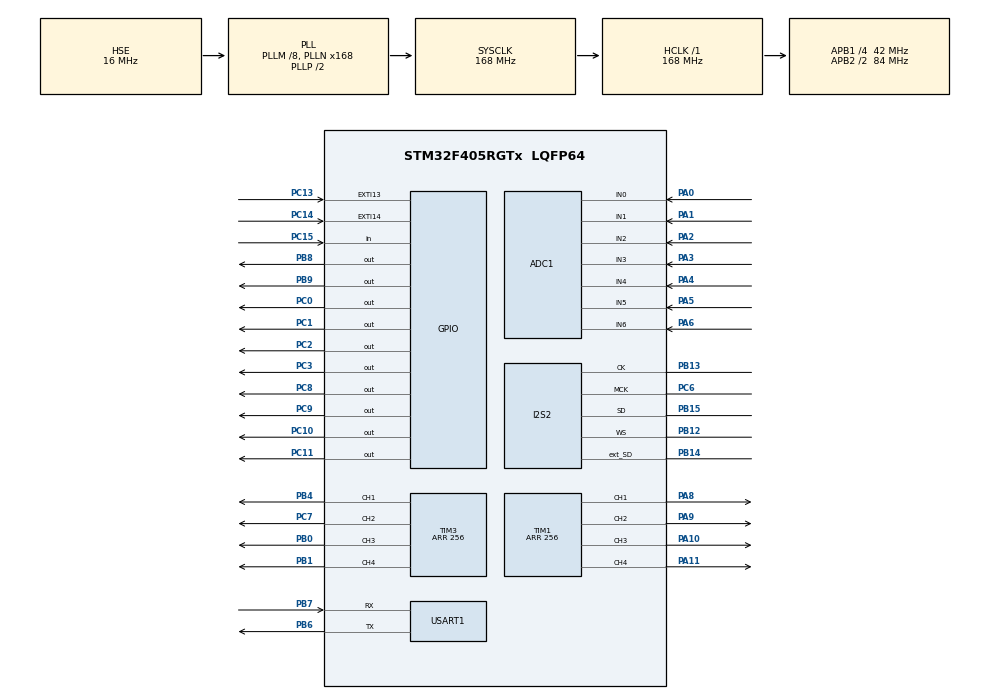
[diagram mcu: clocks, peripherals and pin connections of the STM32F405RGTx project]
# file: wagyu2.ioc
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ADC1.Channel-0\#ChannelRegularConversion=ADC_CHANNEL_0
ADC1.Channel-1\#ChannelRegularConversion=ADC_CHANNEL_1
ADC1.Channel-2\#ChannelRegularConversion=ADC_CHANNEL_2
ADC1.Channel-3\#ChannelRegularConversion=ADC_CHANNEL_3
ADC1.Channel-4\#ChannelRegularConversion=ADC_CHANNEL_4
ADC1.Channel-5\#ChannelRegularConversion=ADC_CHANNEL_5
ADC1.Channel-6\#ChannelRegularConversion=ADC_CHANNEL_6
ADC1.DMAContinuousRequests=ENABLE
ADC1.EOCSelection=ADC_EOC_SEQ_CONV
ADC1.ExternalTrigConv=ADC_EXTERNALTRIGCONV_T2_TRGO
ADC1.NbrOfConversion=7
ADC1.NbrOfConversionFlag=1
ADC1.Rank-0\#ChannelRegularConversion=1
ADC1.Rank-1\#ChannelRegularConversion=2
ADC1.Rank-2\#ChannelRegularConversion=3
ADC1.Rank-3\#ChannelRegularConversion=4
ADC1.Rank-4\#ChannelRegularConversion=5
ADC1.Rank-5\#ChannelRegularConversion=6
ADC1.Rank-6\#ChannelRegularConversion=7
ADC1.SamplingTime-0\#ChannelRegularConversion=ADC_SAMPLETIME_3CYCLES
ADC1.SamplingTime-1\#ChannelRegularConversion=ADC_SAMPLETIME_3CYCLES
ADC1.SamplingTime-2\#ChannelRegularConversion=ADC_SAMPLETIME_3CYCLES
ADC1.SamplingTime-3\#ChannelRegularConversion=ADC_SAMPLETIME_3CYCLES
ADC1.SamplingTime-4\#ChannelRegularConversion=ADC_SAMPLETIME_15CYCLES
ADC1.SamplingTime-5\#ChannelRegularConversion=ADC_SAMPLETIME_15CYCLES
ADC1.SamplingTime-6\#ChannelRegularConversion=ADC_SAMPLETIME_15CYCLES
ADC1.ScanConvMode=ENABLE
ADC1.master=1
Dma.ADC1.0.Direction=DMA_PERIPH_TO_MEMORY
Dma.ADC1.0.FIFOMode=DMA_FIFOMODE_DISABLE
Dma.ADC1.0.Instance=DMA2_Stream0
Dma.ADC1.0.MemDataAlignment=DMA_MDATAALIGN_HALFWORD
Dma.ADC1.0.MemInc=DMA_MINC_ENABLE
Dma.ADC1.0.Mode=DMA_CIRCULAR
Dma.ADC1.0.PeriphDataAlignment=DMA_PDATAALIGN_HALFWORD
Dma.ADC1.0.PeriphInc=DMA_PINC_DISABLE
Dma.ADC1.0.Priority=DMA_PRIORITY_LOW
Dma.I2S2_EXT_RX.2.Direction=DMA_PERIPH_TO_MEMORY
Dma.I2S2_EXT_RX.2.FIFOMode=DMA_FIFOMODE_DISABLE
Dma.I2S2_EXT_RX.2.Instance=DMA1_Stream3
Dma.I2S2_EXT_RX.2.MemDataAlignment=DMA_MDATAALIGN_HALFWORD
Dma.I2S2_EXT_RX.2.MemInc=DMA_MINC_ENABLE
Dma.I2S2_EXT_RX.2.Mode=DMA_CIRCULAR
Dma.I2S2_EXT_RX.2.PeriphDataAlignment=DMA_PDATAALIGN_HALFWORD
Dma.I2S2_EXT_RX.2.PeriphInc=DMA_PINC_DISABLE
Dma.I2S2_EXT_RX.2.Priority=DMA_PRIORITY_LOW
Dma.Request0=ADC1
Dma.Request1=SPI2_TX
Dma.Request2=I2S2_EXT_RX
Dma.SPI2_TX.1.Direction=DMA_MEMORY_TO_PERIPH
Dma.SPI2_TX.1.FIFOMode=DMA_FIFOMODE_DISABLE
Dma.SPI2_TX.1.Instance=DMA1_Stream4
Dma.SPI2_TX.1.MemDataAlignment=DMA_MDATAALIGN_HALFWORD
Dma.SPI2_TX.1.MemInc=DMA_MINC_ENABLE
Dma.SPI2_TX.1.Mode=DMA_CIRCULAR
Dma.SPI2_TX.1.PeriphDataAlignment=DMA_PDATAALIGN_HALFWORD
Dma.SPI2_TX.1.PeriphInc=DMA_PINC_DISABLE
Dma.SPI2_TX.1.Priority=DMA_PRIORITY_LOW
I2S2.AudioFreq=I2S_AUDIOFREQ_32K
I2S2.ErrorAudioFreq=1.9 %
I2S2.FullDuplexMode=I2S_FULLDUPLEXMODE_ENABLE
I2S2.Instance=SPI$Index
I2S2.RealAudioFreq=32.608 KHz
I2S2.VirtualMode=I2S_MODE_MASTER
Mcu.Family=STM32F4
Mcu.Name=STM32F405RGTx
Mcu.Package=LQFP64
NVIC.DMA1_Stream3_IRQn=true\:0\:0\:false\:false\:true\:false\:true
NVIC.DMA1_Stream4_IRQn=true\:0\:0\:false\:false\:true\:false\:true
NVIC.DMA2_Stream0_IRQn=true\:0\:0\:false\:false\:true\:false\:true
NVIC.EXTI15_10_IRQn=true\:0\:0\:false\:false\:true\:true\:true
NVIC.PriorityGroup=NVIC_PRIORITYGROUP_4
PA0-WKUP.Signal=ADCx_IN0
PA1.Signal=ADCx_IN1
PA10.Signal=S_TIM1_CH3
PA11.Signal=S_TIM1_CH4
PA13.Mode=Serial_Wire
PA13.Signal=SYS_JTMS-SWDIO
PA14.Mode=Serial_Wire
PA14.Signal=SYS_JTCK-SWCLK
PA2.Signal=ADCx_IN2
PA3.Signal=ADCx_IN3
PA4.Signal=ADCx_IN4
PA5.Signal=ADCx_IN5
PA6.Signal=ADCx_IN6
PA8.Signal=S_TIM1_CH1
PA9.Signal=S_TIM1_CH2
PB0.Signal=S_TIM3_CH3
PB1.Signal=S_TIM3_CH4
PB12.Mode=Full_Duplex_Master
PB12.Signal=I2S2_WS
PB13.Mode=Full_Duplex_Master
PB13.Signal=I2S2_CK
PB14.Mode=Full_Duplex_Master
PB14.Signal=I2S2_ext_SD
PB15.Mode=Full_Duplex_Master
PB15.Signal=I2S2_SD
PB4.Signal=S_TIM3_CH1
PB6.Mode=Asynchronous
PB6.Signal=USART1_TX
PB7.Mode=Asynchronous
PB7.Signal=USART1_RX
PB8.GPIO_ModeDefaultOutputPP=GPIO_MODE_OUTPUT_OD
PB8.GPIO_PuPd=GPIO_PULLUP
PB8.PinState=GPIO_PIN_SET
PB8.Signal=GPIO_Output
PB9.GPIO_ModeDefaultOutputPP=GPIO_MODE_OUTPUT_OD
PB9.GPIO_PuPd=GPIO_PULLUP
PB9.PinState=GPIO_PIN_SET
PB9.Signal=GPIO_Output
PC0.Signal=GPIO_Output
PC1.Signal=GPIO_Output
PC10.PinState=GPIO_PIN_SET
PC10.Signal=GPIO_Output
PC11.Signal=GPIO_Output
PC13-ANTI_TAMP.GPIO_ModeDefaultEXTI=GPIO_MODE_IT_RISING_FALLING
PC13-ANTI_TAMP.GPIO_PuPd=GPIO_PULLUP
PC13-ANTI_TAMP.Signal=GPXTI13
PC14-OSC32_IN.GPIO_ModeDefaultEXTI=GPIO_MODE_IT_RISING_FALLING
PC14-OSC32_IN.GPIO_PuPd=GPIO_PULLUP
PC14-OSC32_IN.Signal=GPXTI14
PC15-OSC32_OUT.GPIO_PuPd=GPIO_PULLUP
PC15-OSC32_OUT.Signal=GPIO_Input
PC2.Signal=GPIO_Output
PC3.Signal=GPIO_Output
PC6.Mode=Master_Clock_Activated
PC6.Signal=I2S2_MCK
PC7.Signal=S_TIM3_CH2
PC8.Signal=GPIO_Output
PC9.Signal=GPIO_Output
PH0-OSC_IN.Mode=HSE-External-Oscillator
PH0-OSC_IN.Signal=RCC_OSC_IN
PH1-OSC_OUT.Mode=HSE-External-Oscillator
PH1-OSC_OUT.Signal=RCC_OSC_OUT
ProjectManager.HeapSize=0x200
ProjectManager.StackSize=0x400
ProjectManager.TargetToolchain=STM32CubeIDE
RCC.48MHZClocksFreq_Value=84000000
RCC.AHBFreq_Value=168000000
RCC.APB1CLKDivider=RCC_HCLK_DIV4
RCC.APB1Freq_Value=42000000
RCC.APB1TimFreq_Value=84000000
RCC.APB2CLKDivider=RCC_HCLK_DIV2
RCC.APB2Freq_Value=84000000
RCC.APB2TimFreq_Value=168000000
RCC.CortexFreq_Value=168000000
RCC.EnbaleCSS=true
RCC.HCLKFreq_Value=168000000
RCC.HSE_VALUE=16000000
RCC.HSI_VALUE=16000000
RCC.LSE_VALUE=32768
RCC.PLLM=8
RCC.PLLN=168
RCC.PLLSourceVirtual=RCC_PLLSOURCE_HSE
RCC.SYSCLKFreq_VALUE=168000000
RCC.SYSCLKSource=RCC_SYSCLKSOURCE_PLLCLK
RCC.VCOOutputFreq_Value=336000000
SH.ADCx_IN0.0=ADC1_IN0,IN0
SH.ADCx_IN1.0=ADC1_IN1,IN1
SH.ADCx_IN2.0=ADC1_IN2,IN2
SH.ADCx_IN3.0=ADC1_IN3,IN3
SH.ADCx_IN4.0=ADC1_IN4,IN4
SH.ADCx_IN5.0=ADC1_IN5,IN5
SH.ADCx_IN6.0=ADC1_IN6,IN6
SH.S_TIM1_CH1.0=TIM1_CH1,PWM Generation1 CH1
SH.S_TIM1_CH2.0=TIM1_CH2,PWM Generation2 CH2
SH.S_TIM1_CH3.0=TIM1_CH3,PWM Generation3 CH3
SH.S_TIM1_CH4.0=TIM1_CH4,PWM Generation4 CH4
SH.S_TIM3_CH1.0=TIM3_CH1,PWM Generation1 CH1
SH.S_TIM3_CH2.0=TIM3_CH2,PWM Generation2 CH2
SH.S_TIM3_CH3.0=TIM3_CH3,PWM Generation3 CH3
SH.S_TIM3_CH4.0=TIM3_CH4,PWM Generation4 CH4
TIM1.Channel-PWM\ Generation1\ CH1=TIM_CHANNEL_1
TIM1.Channel-PWM\ Generation2\ CH2=TIM_CHANNEL_2
TIM1.Channel-PWM\ Generation3\ CH3=TIM_CHANNEL_3
TIM1.Channel-PWM\ Generation4\ CH4=TIM_CHANNEL_4
TIM1.Period=256
TIM2.ClockDivision=TIM_CLOCKDIVISION_DIV2
TIM2.Period=10000
TIM2.TIM_MasterOutputTrigger=TIM_TRGO_UPDATE
TIM3.Channel-PWM\ Generation1\ CH1=TIM_CHANNEL_1
TIM3.Channel-PWM\ Generation2\ CH2=TIM_CHANNEL_2
TIM3.Channel-PWM\ Generation3\ CH3=TIM_CHANNEL_3
TIM3.Channel-PWM\ Generation4\ CH4=TIM_CHANNEL_4
TIM3.Period=256
USART1.VirtualMode=VM_ASYNC
VP_TIM1_VS_ClockSourceINT.Mode=Internal
VP_TIM2_VS_ClockSourceINT.Mode=Internal
VP_TIM3_VS_ClockSourceINT.Mode=Internal
board=custom

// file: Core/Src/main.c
/* USER CODE BEGIN Header */
/**
  ******************************************************************************
  * @file           : main.c
  * @brief          : Main program body
  ******************************************************************************
  * @attention
  *
  * <h2><center>&copy; Copyright (c) 2020 STMicroelectronics.
  * All rights reserved.</center></h2>
  *
  * This software component is licensed by ST under BSD 3-Clause license,
  * the "License"; You may not use this file except in compliance with the
  * License. You may obtain a copy of the License at:
  *                        opensource.org/licenses/BSD-3-Clause
  *
  ******************************************************************************
  */
/* USER CODE END Header */

#include "main.h"

/* USER CODE BEGIN Includes */
#include <math.h>
#include <stdarg.h>
#include <stdio.h>
#include <string.h>

/* USER CODE END Includes */

ADC_HandleTypeDef hadc1;
DMA_HandleTypeDef hdma_adc1;

I2S_HandleTypeDef hi2s2;
DMA_HandleTypeDef hdma_spi2_tx;
DMA_HandleTypeDef hdma_i2s2_ext_rx;

TIM_HandleTypeDef htim1;
TIM_HandleTypeDef htim2;
TIM_HandleTypeDef htim3;

UART_HandleTypeDef huart1;

void SystemClock_Config(void);
static void MX_GPIO_Init(void);
static void MX_DMA_Init(void);
static void MX_USART1_UART_Init(void);
static void MX_TIM1_Init(void);
static void MX_TIM3_Init(void);
static void MX_ADC1_Init(void);
static void MX_TIM2_Init(void);
static void MX_I2S2_Init(void);

/* USER CODE BEGIN 0 */

void DebugLog(const char *fmt, ...) {
	char buf[256];
	va_list args;
	va_start(args, fmt);
	int n = vsnprintf(buf, sizeof(buf), fmt, args);
	va_end(args);
	HAL_UART_Transmit(&huart1, (unsigned char*) buf, n, 10000);
}

uint8_t vram[8][8];
#define N 64
static short txbuf[N*4];
static short rxbuf[N*4];

const static uint8_t ypins[8]={TIM_CHANNEL_4,TIM_CHANNEL_3,TIM_CHANNEL_2,TIM_CHANNEL_1,TIM_CHANNEL_1,TIM_CHANNEL_4,TIM_CHANNEL_3,TIM_CHANNEL_2};
const static uint8_t xpins[8]={10,9,8,11,3,2,1,0};

void UpdateLEDs(void)
{
	  static int x=0;
	  HAL_GPIO_WritePin(GPIOC, 1<<xpins[x], GPIO_PIN_RESET);
	  x=(x+1)&7;
	  for (int y=0;y<8;++y)
		  __HAL_TIM_SET_COMPARE((y>=4)?&htim3:&htim1, ypins[y], vram[y][x]);
	  HAL_GPIO_WritePin(GPIOC, 1<<xpins[x], GPIO_PIN_SET);
}

static uint16_t adcbuf[7*8];

void HAL_I2S_TxCpltCallback (I2S_HandleTypeDef * hi2s) {
	int i=1;
}
void HAL_I2S_TxHalfCpltCallback (I2S_HandleTypeDef * hi2s) {
	int i=1;
}

//void HAL_ADC_ConvCpltCallback(ADC_HandleTypeDef *hadc) {
//	int i=1;
//}

volatile int enc_val = 0;
int prevc;
void UpdateEncoder(void) {
	int c=(GPIOC->IDR >> 13) & 3;
	int change = c^prevc;
	if (!change)
		return;
	enc_val+=(((c<<1)^(prevc))&2)-1;
	prevc=c;
}

void HAL_GPIO_EXTI_Callback(uint16_t GPIO_Pin) {
	UpdateEncoder();
}

#include "codec.h"

/* USER CODE END 0 */

int main(void)
{

  /* MCU Configuration--------------------------------------------------------*/

  /* Reset of all peripherals, Initializes the Flash interface and the Systick. */
  HAL_Init();

  /* Configure the system clock */
  SystemClock_Config();

  /* Initialize all configured peripherals */
  MX_GPIO_Init();
  MX_DMA_Init();
  MX_USART1_UART_Init();
  MX_TIM1_Init();
  MX_TIM3_Init();
  MX_ADC1_Init();
  MX_TIM2_Init();
  MX_I2S2_Init();
  /* USER CODE BEGIN 2 */
  DebugLog("hello world\r\n");
  HAL_TIM_PWM_Start(&htim1, TIM_CHANNEL_1);
  HAL_TIM_PWM_Start(&htim1, TIM_CHANNEL_2);
  HAL_TIM_PWM_Start(&htim1, TIM_CHANNEL_3);
  HAL_TIM_PWM_Start(&htim1, TIM_CHANNEL_4);
  HAL_TIM_PWM_Start(&htim3, TIM_CHANNEL_1);
  HAL_TIM_PWM_Start(&htim3, TIM_CHANNEL_2);
  HAL_TIM_PWM_Start(&htim3, TIM_CHANNEL_3);
  HAL_TIM_PWM_Start(&htim3, TIM_CHANNEL_4);
  HAL_ADC_Start_DMA(&hadc1,(uint32_t*)&adcbuf, 7*8);
  HAL_TIM_Base_Start(&htim2);

  UpdateEncoder();
  enc_val=0;

  for (int i=0;i<N*4;++i)
	  txbuf[i]=32767.f * sinf(i*3.141592f/2.f/N);
  int rv;
  rv = HAL_I2S_Transmit_DMA(&hi2s2, (uint16_t*) txbuf, sizeof(txbuf) / 2);
  /*
 rv= HAL_I2SEx_TransmitReceive_DMA(&hi2s2, (uint16_t*) txbuf, (uint16_t*)rxbuf, sizeof(rxbuf) / 2);
 // fix st's shit
 hi2s2.hdmatx->XferCpltCallback = allcplt;
 hi2s2.hdmatx->XferHalfCpltCallback = halfcplt;
 hi2s2.hdmarx->XferCpltCallback = 0;
 hi2s2.hdmarx->XferHalfCpltCallback = 0;
*/

  codec_init();

  /* USER CODE END 2 */

  /* Infinite loop */
  while (1)
  {

    /* USER CODE BEGIN 3 */
//	  DebugLog("%d %d %d\r", adcbuf[4], adcbuf[5], adcbuf[6]);
	  int x0=(adcbuf[6]^4095)+adcbuf[2]-2048;
	  int y0=(adcbuf[4]^4095)+adcbuf[3]-2048;
	  int r0=((adcbuf[5]^4095)+256);
	  r0*=r0;
	  for (int y=0;y<8;++y) {
		  int y1=(y*512)+256;
		  int dy=(y1-y0);
		  dy*=dy;
		  for (int x=0;x<8;++x) {
			  int x1=(x*512)+256;
			  int dx=(x1-x0);
			  dx*=dx;
			  // linear pixel brightness, 0=black , 255=bright
			  int k=(int)(255.f*exp2f((dx+dy)*(-4.f/r0)));
			  if (x+y*8 == enc_val/4)
				  k=255;
			  if (!((GPIOC->IDR >> 15)&1))
				  k=255-k;
			  // flip it coz I got the +/- pins backwards and square for gamma
			  vram[y][x]=255-((k*k)>>8);
		  }
	  }
	  DebugLog("%d    \r\n",enc_val);
  }
  /* USER CODE END 3 */
}

void SystemClock_Config(void)
{
  RCC_OscInitTypeDef RCC_OscInitStruct = {0};
  RCC_ClkInitTypeDef RCC_ClkInitStruct = {0};
  RCC_PeriphCLKInitTypeDef PeriphClkInitStruct = {0};

  /** Configure the main internal regulator output voltage
  */
  __HAL_RCC_PWR_CLK_ENABLE();
  __HAL_PWR_VOLTAGESCALING_CONFIG(PWR_REGULATOR_VOLTAGE_SCALE1);
  /** Initializes the CPU, AHB and APB busses clocks
  */
  RCC_OscInitStruct.OscillatorType = RCC_OSCILLATORTYPE_HSE;
  RCC_OscInitStruct.HSEState = RCC_HSE_ON;
  RCC_OscInitStruct.PLL.PLLState = RCC_PLL_ON;
  RCC_OscInitStruct.PLL.PLLSource = RCC_PLLSOURCE_HSE;
  RCC_OscInitStruct.PLL.PLLM = 8;
  RCC_OscInitStruct.PLL.PLLN = 168;
  RCC_OscInitStruct.PLL.PLLP = RCC_PLLP_DIV2;
  RCC_OscInitStruct.PLL.PLLQ = 4;
  if (HAL_RCC_OscConfig(&RCC_OscInitStruct) != HAL_OK)
  {
    Error_Handler();
  }
  /** Initializes the CPU, AHB and APB busses clocks
  */
  RCC_ClkInitStruct.ClockType = RCC_CLOCKTYPE_HCLK|RCC_CLOCKTYPE_SYSCLK
                              |RCC_CLOCKTYPE_PCLK1|RCC_CLOCKTYPE_PCLK2;
  RCC_ClkInitStruct.SYSCLKSource = RCC_SYSCLKSOURCE_PLLCLK;
  RCC_ClkInitStruct.AHBCLKDivider = RCC_SYSCLK_DIV1;
  RCC_ClkInitStruct.APB1CLKDivider = RCC_HCLK_DIV4;
  RCC_ClkInitStruct.APB2CLKDivider = RCC_HCLK_DIV2;

  if (HAL_RCC_ClockConfig(&RCC_ClkInitStruct, FLASH_LATENCY_5) != HAL_OK)
  {
    Error_Handler();
  }
  PeriphClkInitStruct.PeriphClockSelection = RCC_PERIPHCLK_I2S;
  PeriphClkInitStruct.PLLI2S.PLLI2SN = 192;
  PeriphClkInitStruct.PLLI2S.PLLI2SR = 2;
  if (HAL_RCCEx_PeriphCLKConfig(&PeriphClkInitStruct) != HAL_OK)
  {
    Error_Handler();
  }
  /** Enables the Clock Security System
  */
  HAL_RCC_EnableCSS();
}

static void MX_ADC1_Init(void)
{

  ADC_ChannelConfTypeDef sConfig = {0};

  /** Configure the global features of the ADC (Clock, Resolution, Data Alignment and number of conversion)
  */
  hadc1.Instance = ADC1;
  hadc1.Init.ClockPrescaler = ADC_CLOCK_SYNC_PCLK_DIV4;
  hadc1.Init.Resolution = ADC_RESOLUTION_12B;
  hadc1.Init.ScanConvMode = ENABLE;
  hadc1.Init.ContinuousConvMode = DISABLE;
  hadc1.Init.DiscontinuousConvMode = DISABLE;
  hadc1.Init.ExternalTrigConvEdge = ADC_EXTERNALTRIGCONVEDGE_RISING;
  hadc1.Init.ExternalTrigConv = ADC_EXTERNALTRIGCONV_T2_TRGO;
  hadc1.Init.DataAlign = ADC_DATAALIGN_RIGHT;
  hadc1.Init.NbrOfConversion = 7;
  hadc1.Init.DMAContinuousRequests = ENABLE;
  hadc1.Init.EOCSelection = ADC_EOC_SEQ_CONV;
  if (HAL_ADC_Init(&hadc1) != HAL_OK)
  {
    Error_Handler();
  }
  /** Configure for the selected ADC regular channel its corresponding rank in the sequencer and its sample time.
  */
  sConfig.Channel = ADC_CHANNEL_0;
  sConfig.Rank = 1;
  sConfig.SamplingTime = ADC_SAMPLETIME_3CYCLES;
  if (HAL_ADC_ConfigChannel(&hadc1, &sConfig) != HAL_OK)
  {
    Error_Handler();
  }
  /** Configure for the selected ADC regular channel its corresponding rank in the sequencer and its sample time.
  */
  sConfig.Channel = ADC_CHANNEL_1;
  sConfig.Rank = 2;
  if (HAL_ADC_ConfigChannel(&hadc1, &sConfig) != HAL_OK)
  {
    Error_Handler();
  }
  /** Configure for the selected ADC regular channel its corresponding rank in the sequencer and its sample time.
  */
  sConfig.Channel = ADC_CHANNEL_2;
  sConfig.Rank = 3;
  if (HAL_ADC_ConfigChannel(&hadc1, &sConfig) != HAL_OK)
  {
    Error_Handler();
  }
  /** Configure for the selected ADC regular channel its corresponding rank in the sequencer and its sample time.
  */
  sConfig.Channel = ADC_CHANNEL_3;
  sConfig.Rank = 4;
  if (HAL_ADC_ConfigChannel(&hadc1, &sConfig) != HAL_OK)
  {
    Error_Handler();
  }
  /** Configure for the selected ADC regular channel its corresponding rank in the sequencer and its sample time.
  */
  sConfig.Channel = ADC_CHANNEL_4;
  sConfig.Rank = 5;
  sConfig.SamplingTime = ADC_SAMPLETIME_15CYCLES;
  if (HAL_ADC_ConfigChannel(&hadc1, &sConfig) != HAL_OK)
  {
    Error_Handler();
  }
  /** Configure for the selected ADC regular channel its corresponding rank in the sequencer and its sample time.
  */
  sConfig.Channel = ADC_CHANNEL_5;
  sConfig.Rank = 6;
  if (HAL_ADC_ConfigChannel(&hadc1, &sConfig) != HAL_OK)
  {
    Error_Handler();
  }
  /** Configure for the selected ADC regular channel its corresponding rank in the sequencer and its sample time.
  */
  sConfig.Channel = ADC_CHANNEL_6;
  sConfig.Rank = 7;
  if (HAL_ADC_ConfigChannel(&hadc1, &sConfig) != HAL_OK)
  {
    Error_Handler();
  }

}

static void MX_I2S2_Init(void)
{

  hi2s2.Instance = SPI2;
  hi2s2.Init.Mode = I2S_MODE_MASTER_TX;
  hi2s2.Init.Standard = I2S_STANDARD_PHILIPS;
  hi2s2.Init.DataFormat = I2S_DATAFORMAT_16B;
  hi2s2.Init.MCLKOutput = I2S_MCLKOUTPUT_ENABLE;
  hi2s2.Init.AudioFreq = I2S_AUDIOFREQ_32K;
  hi2s2.Init.CPOL = I2S_CPOL_LOW;
  hi2s2.Init.ClockSource = I2S_CLOCK_PLL;
  hi2s2.Init.FullDuplexMode = I2S_FULLDUPLEXMODE_ENABLE;
  if (HAL_I2S_Init(&hi2s2) != HAL_OK)
  {
    Error_Handler();
  }

}

static void MX_TIM1_Init(void)
{

  TIM_ClockConfigTypeDef sClockSourceConfig = {0};
  TIM_MasterConfigTypeDef sMasterConfig = {0};
  TIM_OC_InitTypeDef sConfigOC = {0};
  TIM_BreakDeadTimeConfigTypeDef sBreakDeadTimeConfig = {0};

  htim1.Instance = TIM1;
  htim1.Init.Prescaler = 0;
  htim1.Init.CounterMode = TIM_COUNTERMODE_UP;
  htim1.Init.Period = 256;
  htim1.Init.ClockDivision = TIM_CLOCKDIVISION_DIV1;
  htim1.Init.RepetitionCounter = 0;
  htim1.Init.AutoReloadPreload = TIM_AUTORELOAD_PRELOAD_DISABLE;
  if (HAL_TIM_Base_Init(&htim1) != HAL_OK)
  {
    Error_Handler();
  }
  sClockSourceConfig.ClockSource = TIM_CLOCKSOURCE_INTERNAL;
  if (HAL_TIM_ConfigClockSource(&htim1, &sClockSourceConfig) != HAL_OK)
  {
    Error_Handler();
  }
  if (HAL_TIM_PWM_Init(&htim1) != HAL_OK)
  {
    Error_Handler();
  }
  sMasterConfig.MasterOutputTrigger = TIM_TRGO_RESET;
  sMasterConfig.MasterSlaveMode = TIM_MASTERSLAVEMODE_DISABLE;
  if (HAL_TIMEx_MasterConfigSynchronization(&htim1, &sMasterConfig) != HAL_OK)
  {
    Error_Handler();
  }
  sConfigOC.OCMode = TIM_OCMODE_PWM1;
  sConfigOC.Pulse = 0;
  sConfigOC.OCPolarity = TIM_OCPOLARITY_HIGH;
  sConfigOC.OCNPolarity = TIM_OCNPOLARITY_HIGH;
  sConfigOC.OCFastMode = TIM_OCFAST_DISABLE;
  sConfigOC.OCIdleState = TIM_OCIDLESTATE_RESET;
  sConfigOC.OCNIdleState = TIM_OCNIDLESTATE_RESET;
  if (HAL_TIM_PWM_ConfigChannel(&htim1, &sConfigOC, TIM_CHANNEL_1) != HAL_OK)
  {
    Error_Handler();
  }
  if (HAL_TIM_PWM_ConfigChannel(&htim1, &sConfigOC, TIM_CHANNEL_2) != HAL_OK)
  {
    Error_Handler();
  }
  if (HAL_TIM_PWM_ConfigChannel(&htim1, &sConfigOC, TIM_CHANNEL_3) != HAL_OK)
  {
    Error_Handler();
  }
  if (HAL_TIM_PWM_ConfigChannel(&htim1, &sConfigOC, TIM_CHANNEL_4) != HAL_OK)
  {
    Error_Handler();
  }
  sBreakDeadTimeConfig.OffStateRunMode = TIM_OSSR_DISABLE;
  sBreakDeadTimeConfig.OffStateIDLEMode = TIM_OSSI_DISABLE;
  sBreakDeadTimeConfig.LockLevel = TIM_LOCKLEVEL_OFF;
  sBreakDeadTimeConfig.DeadTime = 0;
  sBreakDeadTimeConfig.BreakState = TIM_BREAK_DISABLE;
  sBreakDeadTimeConfig.BreakPolarity = TIM_BREAKPOLARITY_HIGH;
  sBreakDeadTimeConfig.AutomaticOutput = TIM_AUTOMATICOUTPUT_DISABLE;
  if (HAL_TIMEx_ConfigBreakDeadTime(&htim1, &sBreakDeadTimeConfig) != HAL_OK)
  {
    Error_Handler();
  }
  HAL_TIM_MspPostInit(&htim1);

}

static void MX_TIM2_Init(void)
{

  TIM_ClockConfigTypeDef sClockSourceConfig = {0};
  TIM_MasterConfigTypeDef sMasterConfig = {0};

  htim2.Instance = TIM2;
  htim2.Init.Prescaler = 0;
  htim2.Init.CounterMode = TIM_COUNTERMODE_UP;
  htim2.Init.Period = 10000;
  htim2.Init.ClockDivision = TIM_CLOCKDIVISION_DIV2;
  htim2.Init.AutoReloadPreload = TIM_AUTORELOAD_PRELOAD_DISABLE;
  if (HAL_TIM_Base_Init(&htim2) != HAL_OK)
  {
    Error_Handler();
  }
  sClockSourceConfig.ClockSource = TIM_CLOCKSOURCE_INTERNAL;
  if (HAL_TIM_ConfigClockSource(&htim2, &sClockSourceConfig) != HAL_OK)
  {
    Error_Handler();
  }
  sMasterConfig.MasterOutputTrigger = TIM_TRGO_UPDATE;
  sMasterConfig.MasterSlaveMode = TIM_MASTERSLAVEMODE_DISABLE;
  if (HAL_TIMEx_MasterConfigSynchronization(&htim2, &sMasterConfig) != HAL_OK)
  {
    Error_Handler();
  }

}

static void MX_TIM3_Init(void)
{

  TIM_ClockConfigTypeDef sClockSourceConfig = {0};
  TIM_MasterConfigTypeDef sMasterConfig = {0};
  TIM_OC_InitTypeDef sConfigOC = {0};

  htim3.Instance = TIM3;
  htim3.Init.Prescaler = 0;
  htim3.Init.CounterMode = TIM_COUNTERMODE_UP;
  htim3.Init.Period = 256;
  htim3.Init.ClockDivision = TIM_CLOCKDIVISION_DIV1;
  htim3.Init.AutoReloadPreload = TIM_AUTORELOAD_PRELOAD_DISABLE;
  if (HAL_TIM_Base_Init(&htim3) != HAL_OK)
  {
    Error_Handler();
  }
  sClockSourceConfig.ClockSource = TIM_CLOCKSOURCE_INTERNAL;
  if (HAL_TIM_ConfigClockSource(&htim3, &sClockSourceConfig) != HAL_OK)
  {
    Error_Handler();
  }
  if (HAL_TIM_PWM_Init(&htim3) != HAL_OK)
  {
    Error_Handler();
  }
  sMasterConfig.MasterOutputTrigger = TIM_TRGO_RESET;
  sMasterConfig.MasterSlaveMode = TIM_MASTERSLAVEMODE_DISABLE;
  if (HAL_TIMEx_MasterConfigSynchronization(&htim3, &sMasterConfig) != HAL_OK)
  {
    Error_Handler();
  }
  sConfigOC.OCMode = TIM_OCMODE_PWM1;
  sConfigOC.Pulse = 0;
  sConfigOC.OCPolarity = TIM_OCPOLARITY_HIGH;
  sConfigOC.OCFastMode = TIM_OCFAST_DISABLE;
  if (HAL_TIM_PWM_ConfigChannel(&htim3, &sConfigOC, TIM_CHANNEL_1) != HAL_OK)
  {
    Error_Handler();
  }
  if (HAL_TIM_PWM_ConfigChannel(&htim3, &sConfigOC, TIM_CHANNEL_2) != HAL_OK)
  {
    Error_Handler();
  }
  if (HAL_TIM_PWM_ConfigChannel(&htim3, &sConfigOC, TIM_CHANNEL_3) != HAL_OK)
  {
    Error_Handler();
  }
  if (HAL_TIM_PWM_ConfigChannel(&htim3, &sConfigOC, TIM_CHANNEL_4) != HAL_OK)
  {
    Error_Handler();
  }
  HAL_TIM_MspPostInit(&htim3);

}

static void MX_USART1_UART_Init(void)
{

  huart1.Instance = USART1;
  huart1.Init.BaudRate = 115200;
  huart1.Init.WordLength = UART_WORDLENGTH_8B;
  huart1.Init.StopBits = UART_STOPBITS_1;
  huart1.Init.Parity = UART_PARITY_NONE;
  huart1.Init.Mode = UART_MODE_TX_RX;
  huart1.Init.HwFlowCtl = UART_HWCONTROL_NONE;
  huart1.Init.OverSampling = UART_OVERSAMPLING_16;
  if (HAL_UART_Init(&huart1) != HAL_OK)
  {
    Error_Handler();
  }

}

static void MX_DMA_Init(void)
{

  /* DMA controller clock enable */
  __HAL_RCC_DMA2_CLK_ENABLE();
  __HAL_RCC_DMA1_CLK_ENABLE();

  /* DMA interrupt init */
  /* DMA1_Stream3_IRQn interrupt configuration */
  HAL_NVIC_SetPriority(DMA1_Stream3_IRQn, 0, 0);
  HAL_NVIC_EnableIRQ(DMA1_Stream3_IRQn);
  /* DMA1_Stream4_IRQn interrupt configuration */
  HAL_NVIC_SetPriority(DMA1_Stream4_IRQn, 0, 0);
  HAL_NVIC_EnableIRQ(DMA1_Stream4_IRQn);
  /* DMA2_Stream0_IRQn interrupt configuration */
  HAL_NVIC_SetPriority(DMA2_Stream0_IRQn, 0, 0);
  HAL_NVIC_EnableIRQ(DMA2_Stream0_IRQn);

}

static void MX_GPIO_Init(void)
{
  GPIO_InitTypeDef GPIO_InitStruct = {0};

  /* GPIO Ports Clock Enable */
  __HAL_RCC_GPIOC_CLK_ENABLE();
  __HAL_RCC_GPIOH_CLK_ENABLE();
  __HAL_RCC_GPIOA_CLK_ENABLE();
  __HAL_RCC_GPIOB_CLK_ENABLE();

  /*Configure GPIO pin Output Level */
  HAL_GPIO_WritePin(GPIOC, GPIO_PIN_0|GPIO_PIN_1|GPIO_PIN_2|GPIO_PIN_3
                          |GPIO_PIN_8|GPIO_PIN_9|GPIO_PIN_11, GPIO_PIN_RESET);

  /*Configure GPIO pin Output Level */
  HAL_GPIO_WritePin(GPIOC, GPIO_PIN_10, GPIO_PIN_SET);

  /*Configure GPIO pin Output Level */
  HAL_GPIO_WritePin(GPIOB, GPIO_PIN_8|GPIO_PIN_9, GPIO_PIN_SET);

  /*Configure GPIO pins : PC13 PC14 */
  GPIO_InitStruct.Pin = GPIO_PIN_13|GPIO_PIN_14;
  GPIO_InitStruct.Mode = GPIO_MODE_IT_RISING_FALLING;
  GPIO_InitStruct.Pull = GPIO_PULLUP;
  HAL_GPIO_Init(GPIOC, &GPIO_InitStruct);

  /*Configure GPIO pin : PC15 */
  GPIO_InitStruct.Pin = GPIO_PIN_15;
  GPIO_InitStruct.Mode = GPIO_MODE_INPUT;
  GPIO_InitStruct.Pull = GPIO_PULLUP;
  HAL_GPIO_Init(GPIOC, &GPIO_InitStruct);

  /*Configure GPIO pins : PC0 PC1 PC2 PC3
                           PC8 PC9 PC10 PC11 */
  GPIO_InitStruct.Pin = GPIO_PIN_0|GPIO_PIN_1|GPIO_PIN_2|GPIO_PIN_3
                          |GPIO_PIN_8|GPIO_PIN_9|GPIO_PIN_10|GPIO_PIN_11;
  GPIO_InitStruct.Mode = GPIO_MODE_OUTPUT_PP;
  GPIO_InitStruct.Pull = GPIO_NOPULL;
  GPIO_InitStruct.Speed = GPIO_SPEED_FREQ_LOW;
  HAL_GPIO_Init(GPIOC, &GPIO_InitStruct);

  /*Configure GPIO pins : PB8 PB9 */
  GPIO_InitStruct.Pin = GPIO_PIN_8|GPIO_PIN_9;
  GPIO_InitStruct.Mode = GPIO_MODE_OUTPUT_OD;
  GPIO_InitStruct.Pull = GPIO_PULLUP;
  GPIO_InitStruct.Speed = GPIO_SPEED_FREQ_LOW;
  HAL_GPIO_Init(GPIOB, &GPIO_InitStruct);

  /* EXTI interrupt init*/
  HAL_NVIC_SetPriority(EXTI15_10_IRQn, 0, 0);
  HAL_NVIC_EnableIRQ(EXTI15_10_IRQn);

}

void Error_Handler(void)
{
}

/************************ (C) COPYRIGHT STMicroelectronics *****END OF FILE****/
